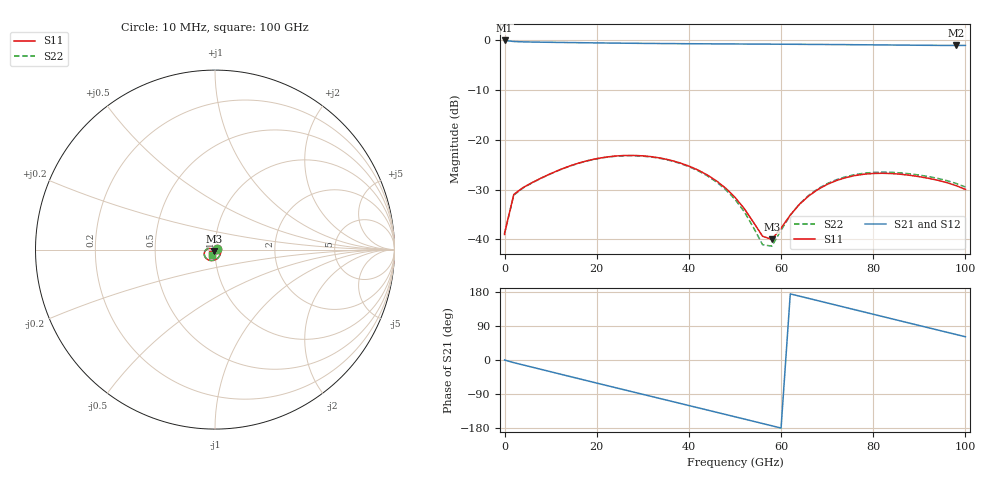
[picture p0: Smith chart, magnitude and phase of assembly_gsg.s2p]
! Created with skrf 2.2.0 (http://scikit-rf.org).
# GHz S RI R 50.0
!freq ReS11 ImS11 ReS21 ImS21 ReS12 ImS12 ReS22 ImS22
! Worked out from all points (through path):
!   52 points, 10 MHz to 100 GHz, reference 50 ohm
!   highest |S21| = -0.10 dB at 10 MHz (marker M1); lowest = -1.1 dB at 98 GHz (marker M2)
!   group delay of S21, straight-line fit = 8.27 ps
!   lowest |S11| = -40.0 dB at 58 GHz (marker M3), VSWR 1.02, Z = 49.3 - j0.711 ohm
!   |S11| at or under -10 dB: start of sweep to end of sweep
!   |S22| runs from -41.4 to -23.2 dB; largest |S21 - S12| = 1.8e-13
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0.01  0.0112 0.000767  0.9888 -0.00139  0.9888 -0.00139  0.0112 0.000767
2  0.0282 4.71e-05  0.9581 -0.1172  0.9581 -0.1172  0.0278 -0.000119
10  0.0223 -0.0398  0.8125 -0.4874  0.8125 -0.4874  0.0222 -0.0396
18  -0.011 -0.0606  0.5385 -0.767  0.5385 -0.767  -0.0112 -0.0603
26  -0.0456 -0.0523  0.1815 -0.9103  0.1815 -0.9103  -0.0457 -0.0516
30  -0.0561 -0.0398  -0.00938 -0.9244  -0.00938 -0.9244  -0.0561 -0.039
34  -0.0601 -0.0252  -0.1982 -0.8996  -0.1982 -0.8996  -0.0599 -0.0242
38  -0.0575 -0.0114  -0.3773 -0.8373  -0.3773 -0.8373  -0.057 -0.0103
44  -0.0441 0.00297  -0.6124 -0.6796  -0.6124 -0.6796  -0.0432 0.00409
48  -0.032 0.00614  -0.7374 -0.5379  -0.7374 -0.5379  -0.0307 0.00713
52  -0.02 0.00393  -0.8305 -0.3738  -0.8305 -0.3738  -0.0184 0.0047
56  -0.0104 -0.00272  -0.8878 -0.1941  -0.8878 -0.1941  -0.00854 -0.00227
58  -0.00694 -0.00721  -0.9021 -0.1008  -0.9021 -0.1008  -0.00499 -0.00694
62  -0.00321 -0.0173  -0.9013 0.0874  -0.9013 0.0874  -0.00116 -0.0174
64  -0.00294 -0.0223  -0.8862 0.1804  -0.8862 0.1804  -0.000882 -0.0227
68  -0.00517 -0.0312  -0.8275 0.3587  -0.8275 0.3587  -0.00319 -0.032
72  -0.01 -0.0376  -0.7333 0.5206  -0.7333 0.5206  -0.00821 -0.0388
76  -0.0158 -0.0407  -0.6078 0.659  -0.6078 0.659  -0.0143 -0.0422
84  -0.0245 -0.0386  -0.2873 0.8427  -0.2873 0.8427  -0.0238 -0.0406
90  -0.0256 -0.034  -0.015 0.8854  -0.015 0.8854  -0.0256 -0.036
98  -0.0209 -0.0276  0.3405 0.8131  0.3405 0.8131  -0.0215 -0.0293
100  -0.018 -0.0261  0.4229 0.7736  0.4229 0.7736  -0.0189 -0.0277
